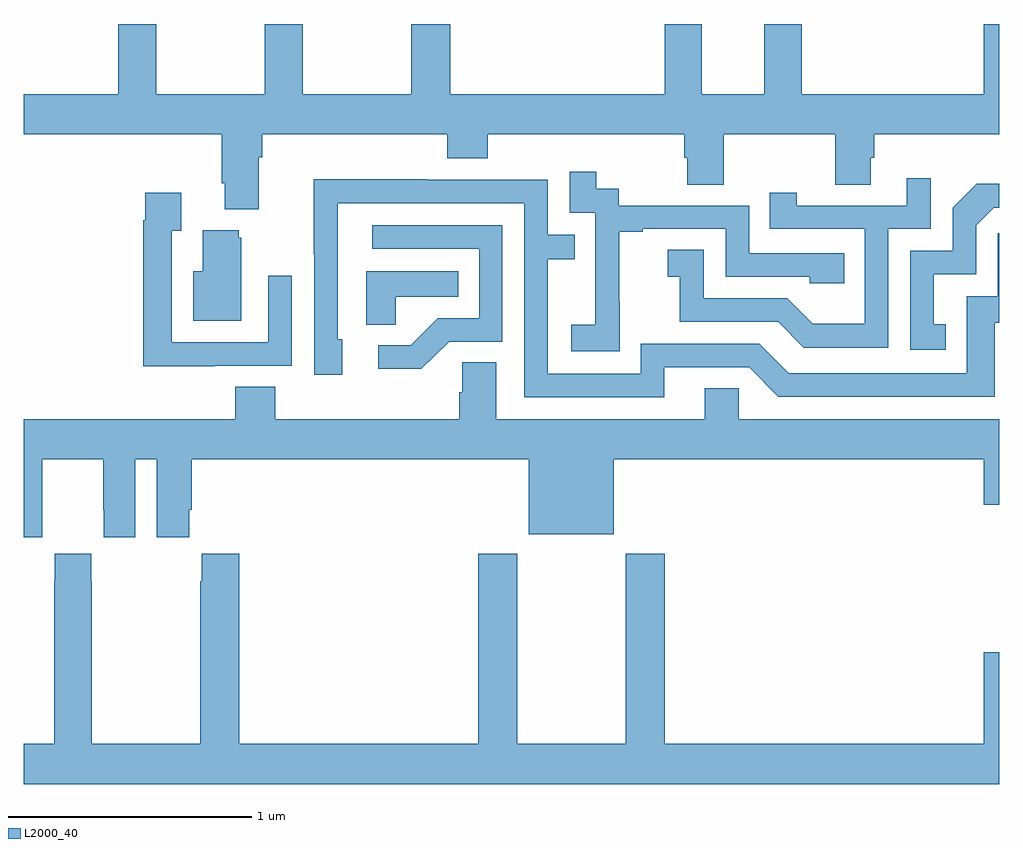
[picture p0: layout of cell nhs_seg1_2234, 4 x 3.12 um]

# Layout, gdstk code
import gdstk
lib = gdstk.Library(unit=1e-6, precision=1e-09)
def P(c, l, *ps):  # polygons
    for p in ps: c.add(gdstk.Polygon(p, *l))
L2000_40 = (2000, 40)

nhs_seg1_2234 = lib.new_cell('nhs_seg1_2234')
P(nhs_seg1_2234, L2000_40, [(233.965,535.652),(233.978,535.652),(233.978,535.748),(234.737,535.748),(234.737,535.649),(234.902,535.649),(234.902,535.748),(235.709,535.748),(235.709,535.65),(235.721,535.65),(235.721,535.54),(235.869,535.54),(235.869,535.748),(236.326,535.748),(236.326,535.54),(236.473,535.54),(236.473,535.65),(236.486,535.65),(236.486,535.748),(237,535.748),(237,536.199),(236.936,536.199),(236.936,535.912),(236.189,535.912),(236.189,536.199),(236.036,536.199),(236.036,535.912),(235.78,535.912),(235.78,536.199),(235.628,536.199),(235.628,535.912),(234.749,535.912),(234.749,536.199),(234.589,536.199),(234.589,535.912),(234.144,535.912),(234.144,536.199),(233.989,536.199),(233.989,535.912),(233.544,535.912),(233.544,536.199),(233.389,536.199),(233.389,535.912),(233,535.912),(233,535.748),(233.813,535.748),(233.813,535.546),(233.825,535.546),(233.825,535.439),(233.965,535.439)],
  [(235.443,535.063),(235.442,535.063),(235.442,535.347),(235.537,535.347),(235.537,535.359),(235.878,535.359),(235.878,535.164),(236.223,535.164),(236.223,535.137),(236.363,535.137),(236.363,535.26),(235.974,535.26),(235.974,535.455),(235.44,535.455),(235.44,535.524),(235.348,535.524),(235.348,535.594),(235.239,535.594),(235.239,535.425),(235.344,535.425),(235.344,535.196),(235.343,535.196),(235.343,534.967),(235.245,534.967),(235.245,534.857),(235.443,534.857)],
  [(236.544,535.359),(236.718,535.359),(236.718,535.567),(236.621,535.567),(236.621,535.455),(236.17,535.455),(236.17,535.507),(236.059,535.507),(236.059,535.359),(236.448,535.359),(236.448,534.97),(236.234,534.97),(236.13,535.074),(235.788,535.074),(235.788,535.273),(235.641,535.273),(235.641,535.163),(235.69,535.163),(235.69,534.978),(236.093,534.978),(236.198,534.873),(236.544,534.873)],
  [(235.627,534.792),(235.974,534.792),(236.094,534.672),(236.981,534.672),(236.981,534.975),(237,534.975),(237,535.342),(236.994,535.342),(236.994,535.083),(236.865,535.083),(236.865,534.768),(236.136,534.768),(236.016,534.888),(235.53,534.888),(235.53,534.765),(235.149,534.765),(235.149,535.234),(235.259,535.234),(235.259,535.335),(235.149,535.335),(235.149,535.56),(234.653,535.56),(234.653,535.562),(234.19,535.562),(234.19,535.255),(234.192,535.255),(234.192,534.762),(234.307,534.762),(234.307,534.906),(234.288,534.906),(234.288,535.464),(235.053,535.464),(235.053,534.669),(235.627,534.669)],
  [(236.78,534.969),(236.731,534.969),(236.731,535.173),(236.904,535.173),(236.904,535.374),(236.976,535.446),(237,535.446),(237,535.544),(236.906,535.544),(236.808,535.446),(236.808,535.269),(236.634,535.269),(236.634,534.864),(236.78,534.864)],
  [(233.783,534.798),(234.099,534.798),(234.099,535.168),(234.003,535.168),(234.003,534.894),(233.607,534.894),(233.607,535.351),(233.647,535.351),(233.647,535.507),(233.499,535.507),(233.499,535.394),(233.491,535.394),(233.491,534.797),(233.783,534.797)],
  [(234.744,534.897),(234.963,534.897),(234.963,535.374),(234.429,535.374),(234.429,535.278),(234.867,535.278),(234.867,534.993),(234.698,534.993),(234.587,534.882),(234.453,534.882),(234.453,534.785),(234.631,534.785)],
  [(233.893,535.323),(233.882,535.323),(233.882,535.354),(233.735,535.354),(233.735,535.186),(233.696,535.186),(233.696,534.983),(233.893,534.983)],
  [(234.525,535.082),(234.782,535.082),(234.782,535.186),(234.404,535.186),(234.404,534.967),(234.525,534.967)],
  [(233.076,534.208),(233.077,534.208),(233.077,534.416),(233.327,534.416),(233.327,534.208),(233.328,534.208),(233.328,534.096),(233.458,534.096),(233.458,534.416),(233.546,534.416),(233.546,534.096),(233.68,534.096),(233.68,534.208),(233.69,534.208),(233.69,534.416),(235.07,534.416),(235.07,534.107),(235.42,534.107),(235.42,534.416),(236.936,534.416),(236.936,534.228),(237,534.228),(237,534.58),(235.932,534.58),(235.932,534.707),(235.793,534.707),(235.793,534.58),(234.937,534.58),(234.937,534.812),(234.798,534.812),(234.798,534.689),(234.785,534.689),(234.785,534.58),(234.032,534.58),(234.032,534.713),(233.867,534.713),(233.867,534.58),(233,534.58),(233,534.096),(233.076,534.096)],
  [(237,533.623),(236.936,533.623),(236.936,533.248),(235.628,533.248),(235.628,534.028),(235.468,534.028),(235.468,533.248),(235.023,533.248),(235.023,534.028),(234.863,534.028),(234.863,533.248),(233.885,533.248),(233.885,534.028),(233.731,534.028),(233.731,533.915),(233.725,533.915),(233.725,533.248),(233.28,533.248),(233.28,533.915),(233.277,533.915),(233.277,534.028),(233.127,534.028),(233.127,533.915),(233.125,533.915),(233.125,533.248),(233,533.248),(233,533.084),(237,533.084)])

lib.write_gds('nhs_seg1_2234.gds')
